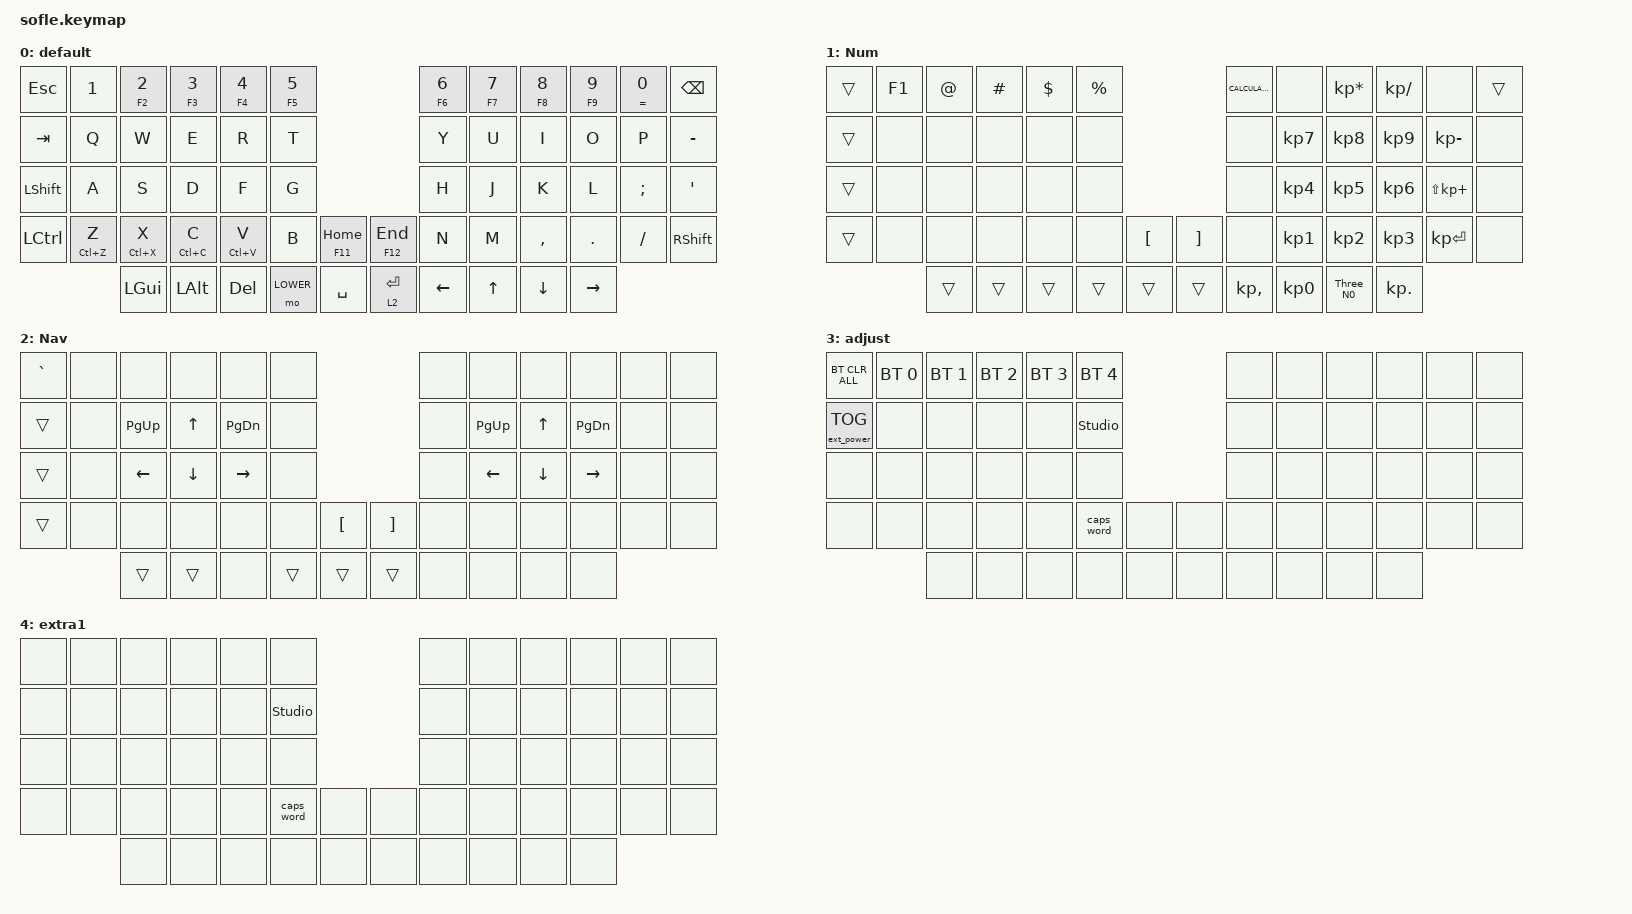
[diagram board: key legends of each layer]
/*
 * Copyright (c) 2020 The ZMK Contributors
 *
 * SPDX-License-Identifier: MIT
 */

#include <behaviors.dtsi>
#include <dt-bindings/zmk/bt.h>
#include <dt-bindings/zmk/ext_power.h>
#include <dt-bindings/zmk/keys.h>

#define BASE 0
#define LOWER 1
#define RAISE 2
#define ADJUST 3
#define extra_layer 4

/ {
    // Activate ADJUST layer by pressing raise and lower

    conditional_layers {
        compatible = "zmk,conditional-layers";

        adjust_layer {
            if-layers = <1 2>;
            then-layer = <3>;
        };
    };

    combos {
        compatible = "zmk,combos";

        backspace {
            bindings = <&kp BACKSPACE>;
            key-positions = <32 31>;
        };

        delete {
            bindings = <&kp DELETE>;
            key-positions = <27 33>;
        };

        esc {
            bindings = <&kp ESCAPE>;
            key-positions = <25 41>;
        };
    };

    behaviors {
        caps: caps {
            compatible = "zmk,behavior-caps-word";
            label = "CAPS";
            #binding-cells = <0>;
            continue-list = <POUND MINUS BACKSPACE UNDERSCORE>;
        };

        Tap_Hold: Tap_Hold {
            compatible = "zmk,behavior-hold-tap";
            label = "TAP_HOLD";
            bindings = <&kp>, <&kp>;

            #binding-cells = <2>;
            tapping-term-ms = <200>;
            flavor = "tap-preferred";
        };

        Tap_Hold_MO: Tap_Hold_MO {
            compatible = "zmk,behavior-hold-tap";
            label = "TAP_HOLD_MO";
            bindings = <&mo>, <&kp>;

            #binding-cells = <2>;
            tapping-term-ms = <200>;
            flavor = "tap-preferred";
        };

        Tap_Hold_QT: Tap_Hold_QT {
            compatible = "zmk,behavior-hold-tap";
            label = "TAP_HOLD_QT";
            bindings = <&kp>, <&kp>;

            #binding-cells = <2>;
            tapping-term-ms = <200>;
            flavor = "tap-preferred";
            quick-tap-ms = <125>;
        };
    };

    macros {
        Three_N0: Three_N0 {
            compatible = "zmk,behavior-macro";
            #binding-cells = <0>;
            bindings = <&kp KP_N0 &kp KP_N0 &kp KP_N0>;
            label = "THREE_N0";
        };
    };

    keymap {
        compatible = "zmk,keymap";

        default_layer {
            display-name = "default";

            // ------------------------------------------------------------------------------------------------------------
            // |   `   |  1  |  2  |  3   |  4   |  5   |                   |  6   |  7    |  8    |  9   |   0   |       |
            // |  ESC  |  Q  |  W  |  E   |  R   |  T   |                   |  Y   |  U    |  I    |  O   |   P   | BKSPC |
            // |  TAB  |  A  |  S  |  D   |  F   |  G   |                   |  H   |  J    |  K    |  L   |   ;   |   '   |
            // | SHIFT |  Z  |  X  |  C   |  V   |  B   |  MUTE  |  |       |  N   |  M    |  ,    |  .   |   /   | SHIFT |
            //               | GUI | ALT  | CTRL | LOWER|  ENTER |  | SPACE | RAISE| CTRL  | ALT   | GUI  |

            bindings = <
&kp ESC           &kp NUMBER_1       &Tap_Hold F2 N2    &Tap_Hold F3 N3    &Tap_Hold F4 N4    &Tap_Hold F5 N5                                              &Tap_Hold F6 N6  &Tap_Hold F7 N7  &Tap_Hold F8 N8  &Tap_Hold F9 N9  &Tap_Hold EQUAL N0  &kp BACKSPACE
&kp TAB           &kp Q              &kp W              &kp E              &kp R              &kp T                                                        &kp Y            &kp U            &kp I            &kp O            &kp P               &kp MINUS
&kp LEFT_SHIFT    &kp A              &kp S              &kp D              &kp F              &kp G                                                        &kp H            &kp J            &kp K            &kp L            &kp SEMI            &kp SQT
&kp LEFT_CONTROL  &Tap_Hold LC(Z) Z  &Tap_Hold LC(X) X  &Tap_Hold LC(C) C  &Tap_Hold LC(V) V  &kp B            &Tap_Hold F11 HOME    &Tap_Hold F12 END     &kp N            &kp M            &kp COMMA        &kp DOT          &kp FSLH            &kp RSHFT
                                     &kp LGUI           &kp LALT           &kp DELETE         &mo LOWER        &kp SPACE             &Tap_Hold_MO 2 ENTER  &kp LEFT_ARROW   &kp UP_ARROW     &kp DOWN         &kp RIGHT
            >;
        };

        Num_Layer {
            display-name = "Num";

            // TODO: Some binds are waiting for shifted keycode support.
            // ------------------------------------------------------------------------------------------------------------
            // |       |  F1 |  F2 |  F3  |  F4  |  F5  |                   |  F6  |  F7   |  F8   |  F9  |  F10  |  F11  |
            // |   `   |  1  |  2  |  3   |  4   |  5   |                   |  6   |  7    |  8    |  9   |   0   |  F12  |
            // |       |  !  |  @  |  #   |  $   |  %   |                   |  ^   |  &    |  *    |  (   |   )   |   |   |
            // |       |  =  |  -  |  +   |  {   |  }   |        |  |       |  [   |  ]    |  ;    |  :   |   \   |       |
            //               |     |      |      |      |        |  |       |      |       |       |      |

            bindings = <
&trans  &kp F1  &kp AT  &kp HASH  &kp DOLLAR  &kp PERCENT                                         &kp K_CALCULATOR  &none            &kp KP_MULTIPLY  &kp KP_SLASH     &none            &trans
&trans  &none   &none   &none     &none       &none                                               &none             &kp KP_NUMBER_7  &kp KP_NUMBER_8  &kp KP_NUMBER_9  &kp KP_MINUS     &none
&trans  &none   &none   &none     &none       &none                                               &none             &kp KP_NUMBER_4  &kp KP_NUMBER_5  &kp KP_NUMBER_6  &kp LS(KP_PLUS)  &none
&trans  &none   &none   &none     &none       &none        &kp LEFT_BRACKET    &kp RIGHT_BRACKET  &none             &kp KP_NUMBER_1  &kp KP_NUMBER_2  &kp KP_NUMBER_3  &kp KP_ENTER     &none
                &trans  &trans    &trans      &trans       &trans              &trans             &kp KP_COMMA      &kp KP_NUMBER_0  &Three_N0        &kp KP_DOT
            >;
        };

        Nav_Layer {
            display-name = "Nav";

            // ------------------------------------------------------------------------------------------------------------
            // | BTCLR | BT1  | BT2  |  BT3  |  BT4  |  BT5 |                |      |      |       |      |       |       |
            // |       | INS  | PSCR | GUI   |       |      |                | PGUP |      |   ^   |      |       |       |
            // |       | ALT  | CTRL | SHIFT |       | CAPS |                | PGDN |   <- |   v   |  ->  |  DEL  | BKSPC |
            // |       | UNDO | CUT  | COPY  | PASTE |      |      |  |      |      |      |       |      |       |       |
            //                |      |       |       |      |      |  |      |      |      |       |      |

            bindings = <
&kp GRAVE  &none  &none      &none         &none      &none                                          &none  &none      &none     &none          &none  &none
&trans     &none  &kp PG_UP  &kp UP_ARROW  &kp PG_DN  &none                                          &none  &kp PG_UP  &kp UP    &kp PAGE_DOWN  &none  &none
&trans     &none  &kp LEFT   &kp DOWN      &kp RIGHT  &none                                          &none  &kp LEFT   &kp DOWN  &kp RIGHT      &none  &none
&trans     &none  &none      &none         &none      &none   &kp LEFT_BRACKET    &kp RIGHT_BRACKET  &none  &none      &none     &none          &none  &none
                  &trans     &trans        &none      &trans  &trans              &trans             &none  &none      &none     &none
            >;
        };

        adjust_layer {
            // ----------------------------------------------------------------------------------------------------------------------------
            // | BTCLR  |  BT1    |  BT2    |   BT3   |   BT4   |   BT5   |                  |      |      |       |      |       |       |
            // | EXTPWR | RGB_HUD | RGB_HUI | RGB_SAD | RGB_SAI | RGB_EFF |                  |      |      |       |      |       |       |
            // |        | RGB_BRD | RGB_BRI |         |         |         |                  |      |      |       |      |       |       |
            // |        |         |         |         |         |         | RGB_TOG | |      |      |      |       |      |       |       |
            //                    |         |         |         |         |         | |      |      |      |       |      |

            display-name = "adjust";
            bindings = <
&bt BT_CLR_ALL     &bt BT_SEL 0  &bt BT_SEL 1  &bt BT_SEL 2  &bt BT_SEL 3  &bt BT_SEL 4                    &none  &none  &none  &none  &none  &none
&ext_power EP_TOG  &none         &none         &none         &none         &studio_unlock                  &none  &none  &none  &none  &none  &none
&none              &none         &none         &none         &none         &none                           &none  &none  &none  &none  &none  &none
&none              &none         &none         &none         &none         &caps_word      &none    &none  &none  &none  &none  &none  &none  &none
                                 &none         &none         &none         &none           &none    &none  &none  &none  &none  &none
            >;
        };

        extra_layer {
            // ----------------------------------------------------------------------------------------------------------------------------
            // | BTCLR  |  BT1    |  BT2    |   BT3   |   BT4   |   BT5   |                  |      |      |       |      |       |       |
            // | EXTPWR | RGB_HUD | RGB_HUI | RGB_SAD | RGB_SAI | RGB_EFF |                  |      |      |       |      |       |       |
            // |        | RGB_BRD | RGB_BRI |         |         |         |                  |      |      |       |      |       |       |
            // |        |         |         |         |         |         | RGB_TOG | |      |      |      |       |      |       |       |
            //                    |         |         |         |         |         | |      |      |      |       |      |

            display-name = "extra1";
            bindings = <
&none  &none  &none  &none  &none  &none                           &none  &none  &none  &none  &none  &none
&none  &none  &none  &none  &none  &studio_unlock                  &none  &none  &none  &none  &none  &none
&none  &none  &none  &none  &none  &none                           &none  &none  &none  &none  &none  &none
&none  &none  &none  &none  &none  &caps_word      &none    &none  &none  &none  &none  &none  &none  &none
              &none  &none  &none  &none           &none    &none  &none  &none  &none  &none
            >;
        };
    };
};
